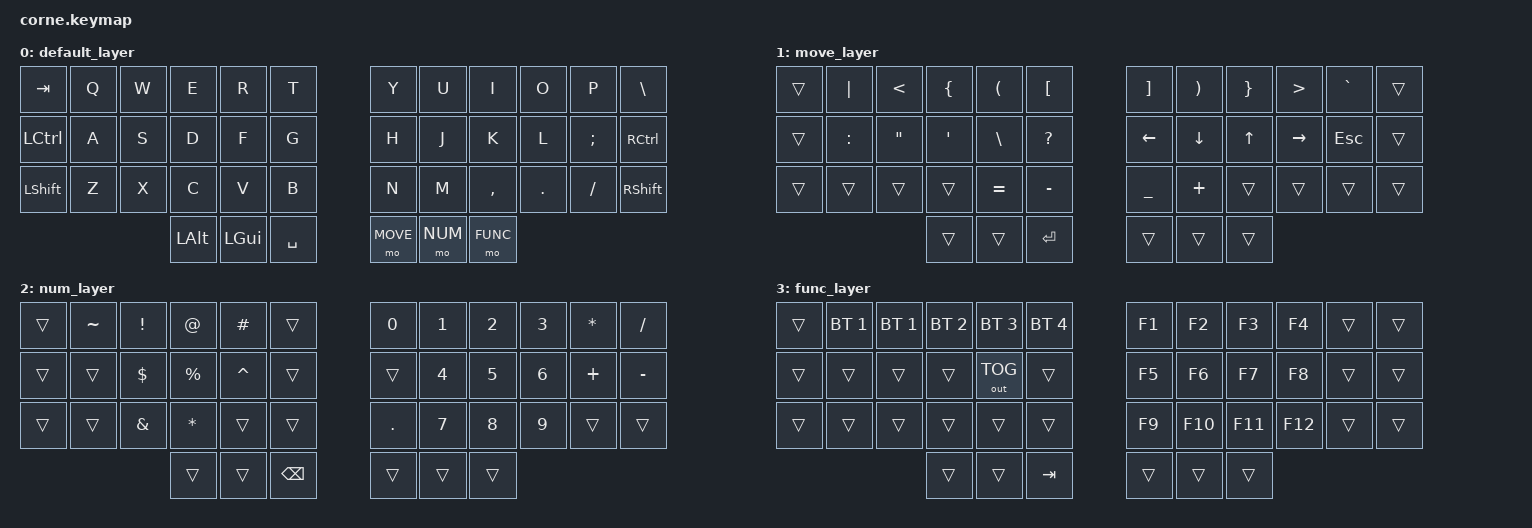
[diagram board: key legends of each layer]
/* vim: set filetype=devicetree : */
/*
 * Copyright (c) 2020 The ZMK Contributors
 *
 * SPDX-License-Identifier: MIT
 */

#include <behaviors.dtsi>
#include <dt-bindings/zmk/keys.h>
#include <dt-bindings/zmk/bt.h>
#include <dt-bindings/zmk/outputs.h>

#define DEFAULT 0
#define MOVE    1
#define NUM     2
#define FUNC    3
#define UTIL    4

/ {
        keymap {
                compatible = "zmk,keymap";

// -----------------------------------------------------------------------------------------
// |      |     |     |     |     |     |   |     |      |     |     |     |      |
// |      |     |     |     |     |     |   |     |      |     |     |     |      |
// |      |     |     |     |     |     |   |     |      |     |     |     |      |
//                    |     |     |     |   |     |      |     |
                default_layer {
                        bindings = <
   &kp TAB   &kp Q &kp W &kp E &kp R &kp T   &kp Y &kp U  &kp I     &kp O   &kp P    &kp BSLH 
   &kp LCTRL &kp A &kp S &kp D &kp F &kp G   &kp H &kp J  &kp K     &kp L   &kp SEMI &kp RCTRL
   &kp LSHFT &kp Z &kp X &kp C &kp V &kp B   &kp N &kp M  &kp COMMA &kp DOT &kp FSLH &kp RSHFT
               &kp LALT &kp LGUI &kp SPACE   &mo MOVE &mo NUM &mo FUNC
                        >;
                };
                move_layer {
                        bindings = <
   &trans &kp PIPE  &kp LT  &kp LBRC &kp LPAR  &kp LBKT     &kp RBKT  &kp RPAR &kp RBRC &kp GT    &kp GRAVE &trans
   &trans &kp COLON &kp DQT &kp SQT  &kp BSLH  &kp QMARK    &kp LEFT  &kp DOWN &kp UP   &kp RIGHT &kp ESC   &trans
   &trans &trans    &trans  &trans   &kp EQUAL &kp MINUS    &kp UNDER &kp PLUS &trans   &trans    &trans    &trans
                            &trans   &trans    &kp RET      &trans    &trans   &trans
                        >;
                };
                num_layer {
                        bindings = <
   &trans &kp TILDE &kp EXCL &kp AT    &kp HASH  &trans     &kp N0  &kp N1 &kp N2 &kp N3 &kp ASTRK &kp FSLH
   &trans &trans    &kp DLLR &kp PRCNT &kp CARET &trans     &trans  &kp N4 &kp N5 &kp N6 &kp PLUS  &kp MINUS
   &trans &trans    &kp AMPS &kp ASTRK &trans    &trans     &kp DOT &kp N7 &kp N8 &kp N9 &trans    &trans
                             &trans    &trans    &kp BSPC   &trans    &trans   &trans
                        >;
                };
                func_layer {
                        bindings = <
   &trans &bt BT_SEL 1 &bt BT_SEL 1 &bt BT_SEL 2 &bt BT_SEL 3  &bt BT_SEL 4      &kp F1 &kp F2  &kp F3  &kp F4  &trans &trans
   &trans &trans &trans &trans &out OUT_TOG  &trans                              &kp F5 &kp F6  &kp F7  &kp F8  &trans &trans
   &trans &trans &trans &trans &trans  &trans                                    &kp F9 &kp F10 &kp F11 &kp F12 &trans &trans
                        &trans &trans  &kp TAB                                   &trans &trans  &trans
                        >;
                };
        };
};

&nice_view_spi {
    cs-gpios = <&pro_micro 0 GPIO_ACTIVE_HIGH>;
};
